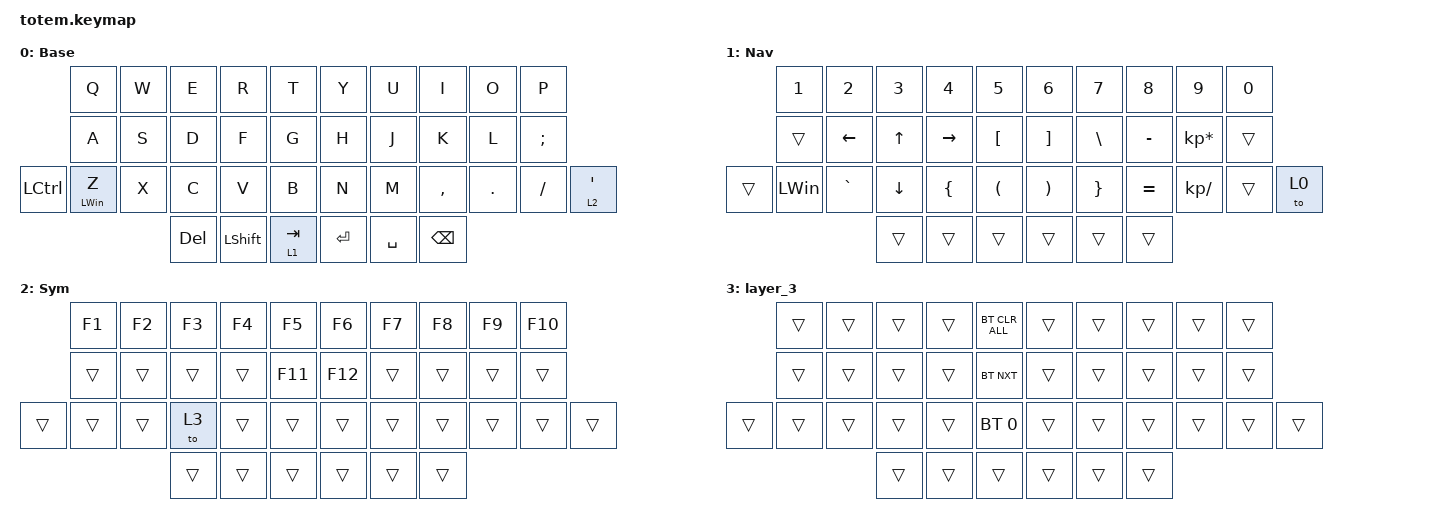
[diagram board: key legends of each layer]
//
//                                                        ▀▀▀▀▀     ▀▀▀▀▀          ▀▀█▀▀
//                                                        ▄▀▀▀▄  ▄  ▄▀▀▀▄  ▄  ▄▀▀▀▄  █  ▄▀▀▀▄
//                                                        █   █  █  █   █  █  █   █  █  █   █
//                                                         ▀▀▀   █   ▀▀▀   █   ▀▀▀   ▀   ▀▀▀
//                                                               █      ▄▄▄█▄▄▄    █   █  
//                                                               ▀      █  █  █     █▄█
//                                                             ▀▀▀▀▀    █  █  █      ▀
//                                                                      ▀  ▀  ▀
//
// ▄▄▄▄▄▄▄▄▄▄▄▄▄▄▄▄▄▄▄▄▄▄▄▄▄▄▄▄▄▄▄▄▄▄▄▄▄▄▄▄▄▄▄▄▄▄▄▄▄▄▄▄▄▄▄▄▄▄▄▄▄▄▄▄▄▄▄▄▄▄▄▄▄▄▄▄▄▄▄▄▄▄▄▄▄▄▄▄▄▄▄▄▄▄▄▄▄▄▄▄▄▄▄▄▄▄▄▄▄▄▄▄▄▄▄▄▄▄▄▄▄▄▄▄▄▄▄▄▄▄▄▄▄▄▄▄▄▄▄▄▄▄▄▄▄▄▄▄▄

#include <behaviors.dtsi>
#include <dt-bindings/zmk/bt.h>
#include <dt-bindings/zmk/keys.h>

#define Base        0
#define Nav         1
#define Sym         2
#define Fun         3
#define Game        4
#define Gameplus    5

&mt {
    quick-tap-ms = <100>;
    global-quick-tap;
    flavor = "tap-preferred";
    tapping-term-ms = <170>;
};

&lt {
    tapping-term-ms = <240>;
    flavor = "balanced";
    quick-tap-ms = <150>;
};

/ {
    behaviors {
        hm: homerow_mods {
            compatible = "zmk,behavior-hold-tap";
            label = "HOMEROW_MODS";
            #binding-cells = <2>;
            flavor = "tap-preferred";
            tapping-term-ms = <200>;
            quick-tap-ms = <125>;
            global-quick-tap;
            bindings = <&kp>, <&kp>;
        };
    };

    combos {
        compatible = "zmk,combos";

        CAPs {
            bindings = <&kp CAPSLOCK>;
            key-positions = <34 35>;
        };

        Layer1 {
            bindings = <&to 1>;
            key-positions = <33 36>;
        };

        Layer2 {
            bindings = <&to 2>;
            key-positions = <32 37>;
        };

        Escape {
            bindings = <&kp ESCAPE>;
            key-positions = <37 33>;
        };
    };

    keymap {
        compatible = "zmk,keymap";

        Base {
            display-name = "Base";
            bindings = <
           &kp Q           &kp W  &kp E    &kp R           &kp T        &kp Y    &kp U      &kp I      &kp O    &kp P
           &kp A           &kp S  &kp D    &kp F           &kp G        &kp H    &kp J      &kp K      &kp L    &kp SEMI
&kp LCTRL  &mt LEFT_WIN Z  &kp X  &kp C    &kp V           &kp B        &kp N    &kp M      &kp COMMA  &kp DOT  &kp FSLH  &lt 2 SQT
                                  &kp DEL  &kp LEFT_SHIFT  &lt 1 TAB    &kp RET  &kp SPACE  &kp BSPC
            >;
        };

        Nav {
            display-name = "Nav";
            bindings = <
        &kp N1        &kp N2     &kp N3        &kp N4          &kp N5      &kp N6    &kp N7           &kp N8     &kp N9           &kp N0
        &trans        &kp LEFT   &kp UP_ARROW  &kp RIGHT       &kp LBKT    &kp RBKT  &kp BSLH         &kp MINUS  &kp KP_MULTIPLY  &trans
&trans  &kp LEFT_WIN  &kp GRAVE  &kp DOWN      &kp LEFT_BRACE  &kp LPAR    &kp RPAR  &kp RIGHT_BRACE  &kp EQUAL  &kp KP_DIVIDE    &trans  &to 0
                                 &trans        &trans          &trans      &trans    &trans           &trans
            >;
        };

        Sym {
            display-name = "Sym";
            bindings = <
        &kp F1  &kp F2  &kp F3  &kp F4  &kp F5     &kp F6   &kp F7  &kp F8  &kp F9  &kp F10
        &trans  &trans  &trans  &trans  &kp F11    &kp F12  &trans  &trans  &trans  &trans
&trans  &trans  &trans  &to 3   &trans  &trans     &trans   &trans  &trans  &trans  &trans   &trans
                        &trans  &trans  &trans     &trans   &trans  &trans
            >;
        };

        layer_3 {
            bindings = <
        &trans  &trans  &trans  &trans  &bt BT_CLR_ALL    &trans  &trans  &trans  &trans  &trans
        &trans  &trans  &trans  &trans  &bt BT_NXT        &trans  &trans  &trans  &trans  &trans
&trans  &trans  &trans  &trans  &trans  &bt BT_SEL 0      &trans  &trans  &trans  &trans  &trans  &trans
                        &trans  &trans  &trans            &trans  &trans  &trans
            >;
        };
    };
};
